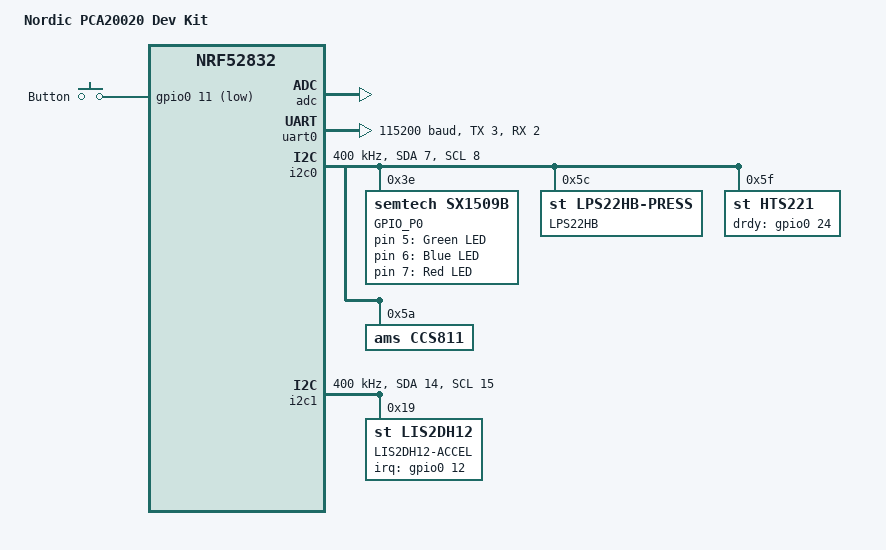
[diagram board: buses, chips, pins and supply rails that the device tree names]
/*
 * Copyright (c) 2017 Shawn Nock <shawn@monadnock.ca>
 * Copyright (c) 2017 Linaro Limited
 * Copyright (c) 2018 Aapo Vienamo
 *
 * SPDX-License-Identifier: Apache-2.0
 */

/dts-v1/;
#include <nordic/nrf52832_qfaa.dtsi>

/ {
	model = "Nordic PCA20020 Dev Kit";
	compatible = "nordic,pca20020-dk", "nordic,nrf52832-qfaa",
		"nordic,nrf52832";

	chosen {
		zephyr,console = &uart0;
		zephyr,shell-uart = &uart0;
		zephyr,bt-mon-uart = &uart0;
		zephyr,bt-c2h-uart = &uart0;
		zephyr,sram = &sram0;
		zephyr,flash = &flash0;
		zephyr,code-partition = &slot0_partition;
	};

	/* These aliases are provided for compatibility with samples */
	aliases {
		led0 = &led0;
		sw0 = &button0;
	};

	leds {
		compatible = "gpio-leds";
		/* Lightwell RGB */
		led0: led_0 {
			gpios = <&sx1509b 5 0>;
			label = "Green LED";
		};
		led1: led_1 {
			gpios = <&sx1509b 6 0>;
			label = "Blue LED";
		};
		led2: led_2 {
			gpios = <&sx1509b 7 0>;
			label = "Red LED";
		};
	};

	buttons {
		compatible = "gpio-keys";
		button0: button_0 {
			/* gpio flags need validation */
			gpios = <&gpio0 11 GPIO_INT_ACTIVE_LOW>;
			label = "Button";
		};
	};
};

&adc {
	status = "okay";
};

&gpiote {
	status = "okay";
};

&gpio0 {
	status = "okay";
};

&uart0 {
	compatible = "nordic,nrf-uart";
	status = "okay";
	current-speed = <115200>;
	tx-pin = <3>;
	rx-pin = <2>;
};

&i2c0 {
	compatible = "nordic,nrf-twim";
	status = "okay";
	clock-frequency = <I2C_BITRATE_FAST>;
	sda-pin = <7>;
	scl-pin = <8>;

	sx1509b: sx1509b@3e {
		compatible = "semtech,sx1509b";
		reg = <0x3e>;
		label = "GPIO_P0";
		gpio-controller;
		#gpio-cells = <2>;
	};

	lps22hb_press: lps22hb_press@5c {
		compatible = "st,lps22hb-press";
		reg = <0x5c>;
		label = "LPS22HB";
	};

	hts221: hts221@5f {
		compatible = "st,hts221";
		reg = <0x5f>;
		label = "HTS221";
		drdy-gpios = <&gpio0 24 GPIO_INT_ACTIVE_HIGH>;
	};

	ccs811: ccs811@5a {
		compatible = "ams,ccs811";
		reg = <0x5a>;
		label = "CCS811";
	};
};

&i2c1 {
	compatible = "nordic,nrf-twim";
	status = "okay";
	clock-frequency = <I2C_BITRATE_FAST>;
	sda-pin = <14>;
	scl-pin = <15>;

	lis2dh12: lis2dh12@19 {
		compatible = "st,lis2dh12", "st,lis2dh";
		reg = <0x19>;
		irq-gpios = <&gpio0 12 GPIO_INT_ACTIVE_HIGH>;
		label = "LIS2DH12-ACCEL";
	};
};

&flash0 {
	/*
	 * If chosen's zephyr,code-partition
	 * is unset, the image will be linked
	 * into the entire flash device.  If
	 * it points to an individual
	 * partition, the code will be linked
	 * to, and restricted to that
	 * partition.
	 */
	partitions {
		compatible = "fixed-partitions";
		#address-cells = <1>;
		#size-cells = <1>;

		boot_partition: partition@0 {
			label = "mcuboot";
			reg = <0x00000000 0xc000>;
		};
		slot0_partition: partition@c000 {
			label = "image-0";
			reg = <0x0000C000 0x32000>;
		};
		slot1_partition: partition@3e000 {
			label = "image-1";
			reg = <0x0003E000 0x32000>;
		};
		scratch_partition: partition@70000 {
			label = "image-scratch";
			reg = <0x00070000 0xa000>;
		};

		/*
		 * The flash starting at 0x0007a000 and ending at
		 * 0x0007ffff (sectors 122-127) is reserved for use
		 * by the application. If enabled, partition for NFFS
		 * will be created in this area.
		 */
		storage_partition: partition@7a000 {
			label = "storage";
			reg = <0x0007a000 0x00006000>;
		};
	};
};
